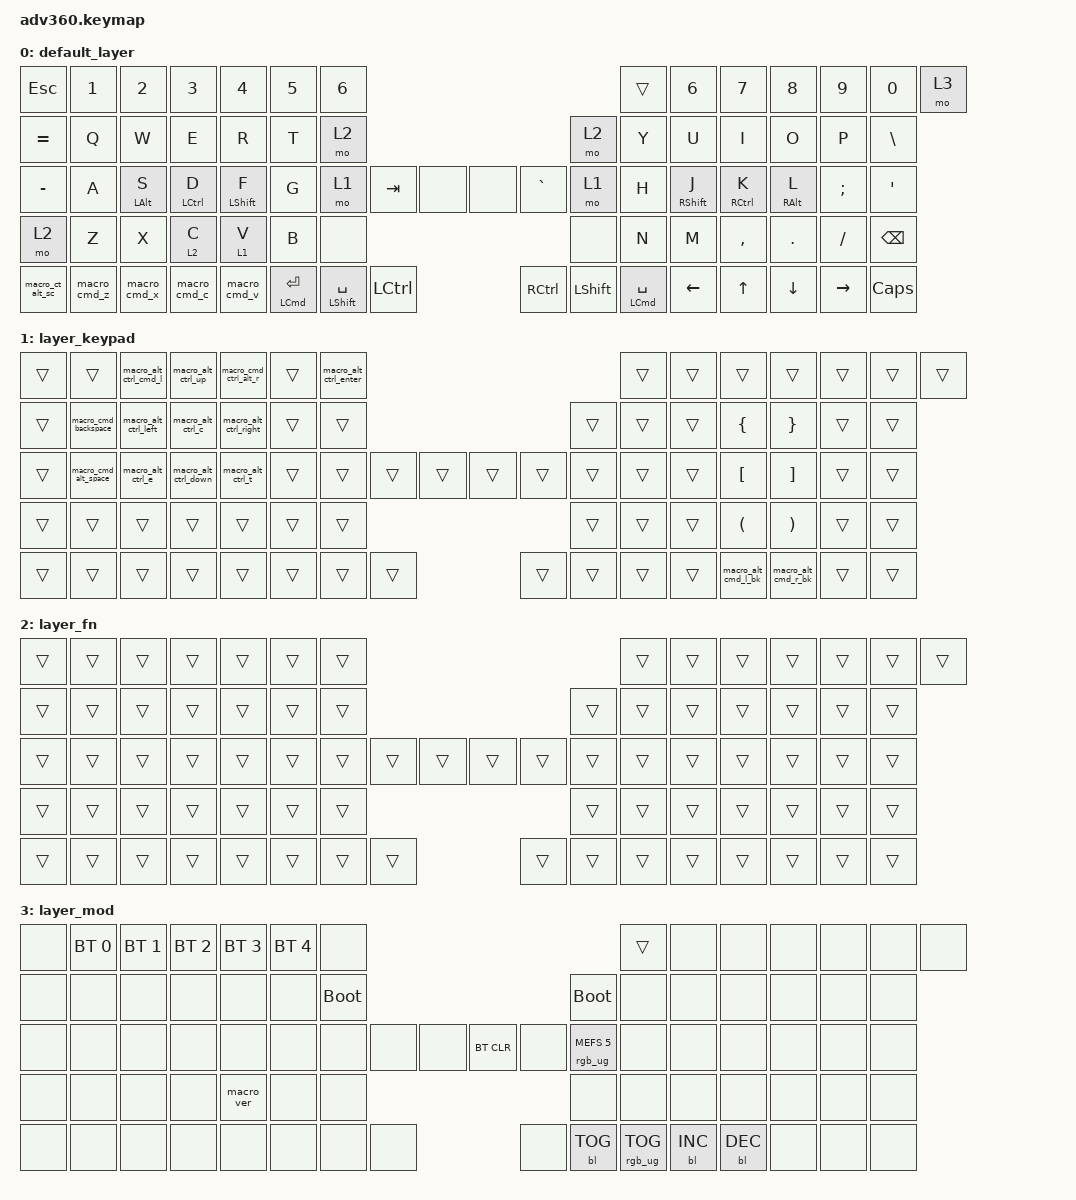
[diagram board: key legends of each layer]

/*
 * Copyright (c) 2020 The ZMK Contributors
 *
 * SPDX-License-Identifier: MIT
 */


/* THIS FILE WAS GENERATED!
 *
 * This file was generated automatically. You may or may not want to
 * edit it directly.
 */

#include <behaviors.dtsi>
#include <dt-bindings/zmk/keys.h>
#include <dt-bindings/zmk/bt.h>
#include <dt-bindings/zmk/rgb.h>
#include <dt-bindings/zmk/backlight.h>

/ {
  behaviors {
    #include "macros.dtsi"
    #include "version.dtsi"

    hm: homerow_mods {
        compatible = "zmk,behavior-hold-tap";
        label = "HOMEROW_MODS";
        #binding-cells = <2>;
        tapping-term-ms = <200>;
        quick_tap_ms = <175>;
        flavor = "tap-preferred";
        bindings = <&kp>, <&kp>;
    };
  };

    keymap {
        compatible = "zmk,keymap";


        default_layer {
            bindings = <
          &kp ESC        &kp N1          &kp N2        &kp N3            &kp N4  &kp N5                      &kp NUMBER_6                                                                                              &trans  &kp N6             &kp N7       &kp N8           &kp N9     &kp N0          &mo 3
        &kp EQUAL         &kp Q           &kp W         &kp E             &kp R   &kp T                             &mo 2                                                                                               &mo 2   &kp Y              &kp U        &kp I            &kp O      &kp P       &kp BSLH
        &kp MINUS         &kp A  &mt LEFT_ALT S   &mt LCTRL D  &mt LEFT_SHIFT F   &kp G                             &mo 1               &kp TAB      &none                      &none       &kp GRAVE                   &mo 1   &kp H  &mt RIGHT_SHIFT J  &mt RCTRL K  &mt RIGHT_ALT L   &kp SEMI        &kp SQT
            &mo 2         &kp Z           &kp X       &lt 2 C           &lt 1 V   &kp B                                                              &none                      &none                                           &kp N              &kp M    &kp COMMA          &kp DOT   &kp FSLH  &kp BACKSPACE
 &macro_ct_alt_sc  &macro_cmd_z    &macro_cmd_x  &macro_cmd_c      &macro_cmd_v                    &mt LEFT_COMMAND ENTER  &mt LEFT_SHIFT SPACE  &kp LCTRL                  &kp RCTRL  &kp LEFT_SHIFT  &mt LEFT_COMMAND SPACE                   &kp LEFT       &kp UP         &kp DOWN  &kp RIGHT   &kp CAPSLOCK
            >;
        };

        layer_keypad {
            bindings = <
 &trans                &trans  &macro_alt_ctrl_cmd_l    &macro_alt_ctrl_up  &macro_cmd_ctrl_alt_r  &trans            &macro_alt_ctrl_enter                                                  &trans  &trans  &trans                &trans                 &trans  &trans  &trans
 &trans  &macro_cmd_backspace   &macro_alt_ctrl_left     &macro_alt_ctrl_c  &macro_alt_ctrl_right  &trans                           &trans                                                  &trans  &trans  &trans        &kp LEFT_BRACE        &kp RIGHT_BRACE  &trans  &trans
 &trans  &macro_cmd_alt_space      &macro_alt_ctrl_e  &macro_alt_ctrl_down      &macro_alt_ctrl_t  &trans                           &trans  &trans  &trans                  &trans  &trans  &trans  &trans  &trans      &kp LEFT_BRACKET      &kp RIGHT_BRACKET  &trans  &trans
 &trans                &trans                 &trans                &trans                 &trans  &trans                                           &trans                  &trans                  &trans  &trans  &kp LEFT_PARENTHESIS  &kp RIGHT_PARENTHESIS  &trans  &trans
 &trans                &trans                 &trans                &trans                 &trans                                   &trans  &trans  &trans                  &trans  &trans  &trans          &trans   &macro_alt_cmd_l_bk    &macro_alt_cmd_r_bk  &trans  &trans
            >;
        };

        layer_fn {
            bindings = <
 &trans  &trans  &trans  &trans  &trans  &trans            &trans                                                  &trans  &trans  &trans  &trans  &trans  &trans  &trans
 &trans  &trans  &trans  &trans  &trans  &trans            &trans                                                  &trans  &trans  &trans  &trans  &trans  &trans  &trans
 &trans  &trans  &trans  &trans  &trans  &trans            &trans  &trans  &trans                  &trans  &trans  &trans  &trans  &trans  &trans  &trans  &trans  &trans
 &trans  &trans  &trans  &trans  &trans  &trans                            &trans                  &trans                  &trans  &trans  &trans  &trans  &trans  &trans
 &trans  &trans  &trans  &trans  &trans                    &trans  &trans  &trans                  &trans  &trans  &trans          &trans  &trans  &trans  &trans  &trans
            >;
        };

        layer_mod {
            bindings = <
  &none  &bt BT_SEL 0  &bt BT_SEL 1  &bt BT_SEL 2  &bt BT_SEL 3  &bt BT_SEL 4                  &none                                                                          &trans   &none       &none       &none   &none   &none   &none
  &none         &none         &none         &none         &none         &none            &bootloader                                                                     &bootloader   &none       &none       &none   &none   &none   &none
  &none         &none         &none         &none         &none         &none                  &none   &none   &none                  &bt BT_CLR       &none  &rgb_ug RGB_MEFS_CMD 5   &none       &none       &none   &none   &none   &none
  &none         &none         &none         &none    &macro_ver         &none                                  &none                       &none                                       &none       &none       &none   &none   &none   &none
  &none         &none         &none         &none         &none                                &none   &none   &none                       &none  &bl BL_TOG         &rgb_ug RGB_TOG          &bl BL_INC  &bl BL_DEC   &none   &none   &none
            >;
        };

    };
};
